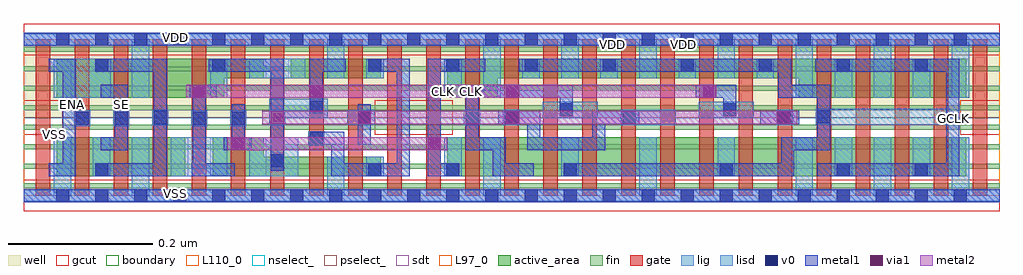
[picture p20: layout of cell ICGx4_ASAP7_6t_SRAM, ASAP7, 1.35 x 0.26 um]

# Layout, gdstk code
import gdstk
lib = gdstk.Library(unit=1e-6, precision=2.5e-10)
def R(c, l, rs):  # rectangles x0, y0, x1, y1
    for r in rs: c.add(gdstk.rectangle(r[:2], r[2:], *l))
def A(c, l, x, y, w, h, nx, ny, dx, dy):  # array of equal rectangles
    R(c, l, [(x+i*dx, y+j*dy, x+i*dx+w, y+j*dy+h) for i in range(nx) for j in range(ny)])
def P(c, l, *ps):  # polygons
    for p in ps: c.add(gdstk.Polygon(p, *l))
well = (1, 0)
fin = (2, 0)
gate = (7, 0)
gcut = (10, 0)
active_area = (11, 0)
nselect_ = (12, 0)
pselect_ = (13, 0)
lig = (16, 0)
lisd = (17, 0)
v0 = (18, 0)
metal1 = (19, 0)
metal2 = (20, 0)
via1 = (21, 0)
sdt = (88, 0)
L97_0 = (97, 0)
boundary = (100, 0)
L110_0 = (110, 0)

icgx4_asap7_6t_sram = lib.new_cell('ICGx4_ASAP7_6t_SRAM')
R(icgx4_asap7_6t_sram, well, [(0,0.108,1.35,0.216)])
A(icgx4_asap7_6t_sram, fin, 0, 0.01, 1.35, 0.007, 1, 8, 0, 0.027)
A(icgx4_asap7_6t_sram, gate, 0.017, 0, 0.02, 0.216, 25, 1, 0.054, 0)
R(icgx4_asap7_6t_sram, gcut, [(0,-0.022,1.35,0.022), (0,0.084,0.054,0.132), (0.486,0.084,0.594,0.132), (1.296,0.084,1.35,0.132), (0,0.194,1.35,0.238)])
R(icgx4_asap7_6t_sram, active_area, [(0.046,0.027,0.224,0.081), (0.586,0.027,1.304,0.081), (0.37,0.162,0.494,0.189)])
P(icgx4_asap7_6t_sram, active_area, [(0.332,0.189),(0.046,0.189),(0.046,0.135),(0.278,0.135),(0.278,0.162),(0.332,0.162)],
  [(0.494,0.054),(0.332,0.054),(0.332,0.081),(0.262,0.081),(0.262,0.027),(0.494,0.027)],
  [(1.304,0.189),(0.586,0.189),(0.586,0.135),(0.656,0.135),(0.656,0.162),(1.072,0.162),(1.072,0.135),(1.304,0.135)])
R(icgx4_asap7_6t_sram, nselect_, [(0,0,1.35,0.108)])
R(icgx4_asap7_6t_sram, pselect_, [(0,0.108,1.35,0.216)])
R(icgx4_asap7_6t_sram, lig, [(0,-0.008,1.35,0.008), (0.394,0.069,0.416,0.089), (0.07,0.096,0.092,0.118), (0.124,0.096,0.146,0.118), (0.232,0.096,0.254,0.118), (0.286,0.096,0.308,0.118), (0.178,0.097,0.2,0.119), (0.34,0.097,0.362,0.119), (0.609,0.097,0.632,0.119), (0.663,0.097,0.686,0.119), (0.826,0.097,0.902,0.119), (1.042,0.097,1.065,0.119), (0.448,0.098,0.486,0.118), (1.096,0.098,1.281,0.12), (0.718,0.108,0.794,0.13), (0.934,0.108,1.01,0.13), (0,0.208,1.35,0.224)])
A(icgx4_asap7_6t_sram, lisd, 0.636, 0, 0.024, 0.081, 3, 1, 0.216, 0)
A(icgx4_asap7_6t_sram, lisd, 1.068, 0.135, 0.024, 0.081, 3, 1, 0.108, 0)
A(icgx4_asap7_6t_sram, lisd, 0.69, 0.162, 0.024, 0.027, 4, 1, 0.108, 0)
A(icgx4_asap7_6t_sram, lisd, 0.744, 0.162, 0.024, 0.054, 3, 1, 0.108, 0)
R(icgx4_asap7_6t_sram, lisd, [(0.042,0,0.066,0.081), (0.15,0,0.174,0.081), (0.42,0,0.444,0.054), (1.176,0,1.2,0.081), (1.284,0,1.308,0.081), (0.096,0.027,0.12,0.081), (0.204,0.027,0.282,0.081), (0.312,0.027,0.38,0.081), (0.474,0.027,0.498,0.054), (0.582,0.027,0.606,0.081), (0.744,0.027,0.768,0.081), (0.96,0.027,0.984,0.081), (1.122,0.027,1.146,0.081), (1.23,0.027,1.254,0.081), (0.34,0.108,0.421,0.134), (0.042,0.135,0.121,0.189), (0.15,0.135,0.174,0.216), (0.258,0.135,0.282,0.189), (0.582,0.135,0.606,0.189), (0.636,0.135,0.66,0.216), (1.122,0.135,1.146,0.189), (1.23,0.135,1.254,0.189), (0.312,0.162,0.39,0.189), (0.42,0.162,0.444,0.216), (0.474,0.162,0.498,0.189)])
A(icgx4_asap7_6t_sram, v0, 0.045, -0.009, 0.018, 0.018, 24, 2, 0.054, 0.216)
A(icgx4_asap7_6t_sram, v0, 0.477, 0.171, 0.018, 0.018, 8, 1, 0.108, 0)
R(icgx4_asap7_6t_sram, v0, [(0.099,0.027,0.117,0.045), (0.477,0.027,0.495,0.045), (0.585,0.027,0.603,0.045), (0.747,0.027,0.765,0.045), (0.963,0.027,0.981,0.045), (1.125,0.027,1.143,0.045), (1.233,0.027,1.251,0.045), (0.342,0.039,0.36,0.057), (0.396,0.07,0.414,0.088), (0.612,0.097,0.63,0.115), (0.072,0.098,0.09,0.116), (0.126,0.098,0.144,0.116), (0.234,0.098,0.252,0.116), (0.288,0.098,0.306,0.116), (0.18,0.099,0.198,0.117), (0.462,0.099,0.48,0.117), (0.666,0.099,0.684,0.117), (0.829,0.099,0.847,0.117), (1.044,0.099,1.062,0.117), (1.098,0.1,1.116,0.118), (0.742,0.11,0.76,0.128), (0.968,0.11,0.986,0.128), (0.396,0.113,0.414,0.131), (0.099,0.171,0.117,0.189), (0.261,0.171,0.279,0.189)])
R(icgx4_asap7_6t_sram, metal1, [(0,-0.009,1.35,0.009), (0.233,0.027,0.292,0.045), (0.462,0.07,0.48,0.126), (1.019,0.099,1.073,0.117), (0.396,0.113,0.414,0.189), (0.396,0.171,0.446,0.189), (0,0.207,1.35,0.225)])
P(icgx4_asap7_6t_sram, metal1, [(0.09,0.116),(0.072,0.116),(0.072,0.189),(0.035,0.189),(0.035,0.171),(0.054,0.171),(0.054,0.045),(0.035,0.045),(0.035,0.027),(0.072,0.027),(0.072,0.098),(0.09,0.098)],
  [(0.144,0.153),(0.107,0.153),(0.107,0.135),(0.126,0.135),(0.126,0.081),(0.107,0.081),(0.107,0.063),(0.144,0.063)],
  [(0.198,0.189),(0.099,0.189),(0.099,0.171),(0.18,0.171),(0.18,0.045),(0.099,0.045),(0.099,0.027),(0.198,0.027)],
  [(0.267,0.153),(0.23,0.153),(0.23,0.135),(0.234,0.135),(0.234,0.028),(0.252,0.028),(0.252,0.135),(0.267,0.135)],
  [(0.316,0.081),(0.306,0.081),(0.306,0.126),(0.288,0.126),(0.288,0.081),(0.277,0.081),(0.277,0.063),(0.316,0.063)],
  [(0.36,0.189),(0.256,0.189),(0.256,0.171),(0.342,0.171),(0.342,0.034),(0.36,0.034)],
  [(0.534,0.189),(0.477,0.189),(0.477,0.171),(0.516,0.171),(0.516,0.045),(0.444,0.045),(0.444,0.088),(0.396,0.088),(0.396,0.07),(0.426,0.07),(0.426,0.027),(0.534,0.027)],
  [(0.639,0.189),(0.559,0.189),(0.559,0.027),(0.603,0.027),(0.603,0.045),(0.577,0.045),(0.577,0.171),(0.639,0.171)],
  [(0.76,0.153),(0.612,0.153),(0.612,0.063),(0.649,0.063),(0.649,0.027),(0.706,0.027),(0.706,0.045),(0.667,0.045),(0.667,0.081),(0.63,0.081),(0.63,0.135),(0.742,0.135),(0.742,0.11),(0.76,0.11)],
  [(0.852,0.117),(0.787,0.117),(0.787,0.081),(0.715,0.081),(0.715,0.117),(0.657,0.117),(0.657,0.099),(0.697,0.099),(0.697,0.063),(0.805,0.063),(0.805,0.099),(0.852,0.099)],
  [(0.986,0.153),(0.93,0.153),(0.93,0.135),(0.968,0.135),(0.968,0.11),(0.986,0.11)],
  [(1.116,0.153),(1.062,0.153),(1.062,0.189),(0.685,0.189),(0.685,0.171),(1.044,0.171),(1.044,0.135),(1.098,0.135),(1.098,0.081),(1.048,0.081),(1.048,0.045),(0.747,0.045),(0.747,0.027),(1.066,0.027),(1.066,0.063),(1.116,0.063)],
  [(1.294,0.189),(1.095,0.189),(1.095,0.171),(1.276,0.171),(1.276,0.045),(1.098,0.045),(1.098,0.027),(1.294,0.027)])
R(icgx4_asap7_6t_sram, metal2, [(0.282,0.063,0.586,0.081), (0.33,0.099,1.07,0.117), (0.225,0.135,0.958,0.153)])
A(icgx4_asap7_6t_sram, via1, 0.396, 0.135, 0.018, 0.018, 3, 1, 0.272, 0)
R(icgx4_asap7_6t_sram, via1, [(0.288,0.063,0.306,0.081), (0.559,0.063,0.577,0.081), (0.342,0.099,0.36,0.117), (0.462,0.099,0.48,0.117), (0.668,0.099,0.686,0.117), (1.042,0.099,1.06,0.117), (0.234,0.135,0.252,0.153)])
A(icgx4_asap7_6t_sram, sdt, 0.042, 0.027, 0.024, 0.054, 6, 1, 0.054, 0)
A(icgx4_asap7_6t_sram, sdt, 0.636, 0.027, 0.024, 0.054, 5, 1, 0.108, 0)
A(icgx4_asap7_6t_sram, sdt, 1.122, 0.027, 0.024, 0.054, 4, 1, 0.054, 0)
A(icgx4_asap7_6t_sram, sdt, 0.042, 0.135, 0.024, 0.054, 3, 1, 0.108, 0)
A(icgx4_asap7_6t_sram, sdt, 1.068, 0.135, 0.024, 0.054, 5, 1, 0.054, 0)
A(icgx4_asap7_6t_sram, sdt, 0.312, 0.162, 0.024, 0.027, 4, 1, 0.054, 0)
A(icgx4_asap7_6t_sram, sdt, 0.69, 0.162, 0.024, 0.027, 7, 1, 0.054, 0)
R(icgx4_asap7_6t_sram, sdt, [(0.42,0.027,0.444,0.054), (0.474,0.027,0.498,0.054), (0.582,0.027,0.606,0.081), (0.582,0.135,0.606,0.189), (0.636,0.135,0.66,0.189)])
R(icgx4_asap7_6t_sram, L97_0, [(0,0,1.35,0.216)])
R(icgx4_asap7_6t_sram, boundary, [(0,0,1.35,0.216)])
R(icgx4_asap7_6t_sram, L110_0, [(0,0,1.35,0.216)])
icgx4_asap7_6t_sram.add(gdstk.Label('VSS', (0.043,0.085), layer=3, texttype=251))
icgx4_asap7_6t_sram.add(gdstk.Label('GCLK', (1.286,0.106), layer=19, texttype=251))
icgx4_asap7_6t_sram.add(gdstk.Label('CLK', (0.62,0.144), layer=19, texttype=251))
icgx4_asap7_6t_sram.add(gdstk.Label('VSS', (0.21,0.003), layer=19, texttype=251))
icgx4_asap7_6t_sram.add(gdstk.Label('VDD', (0.21,0.218), layer=19, texttype=251))
icgx4_asap7_6t_sram.add(gdstk.Label('SE', (0.135,0.126), layer=19, texttype=251))
icgx4_asap7_6t_sram.add(gdstk.Label('ENA', (0.068,0.126), layer=19, texttype=251))
icgx4_asap7_6t_sram.add(gdstk.Label('VDD', (0.913,0.209), layer=1, texttype=251))
icgx4_asap7_6t_sram.add(gdstk.Label('VDD', (0.815,0.209), layer=1, texttype=251))
icgx4_asap7_6t_sram.add(gdstk.Label('CLK', (0.581,0.144), layer=20, texttype=251))

lib.write_gds('ICGx4_ASAP7_6t_SRAM.gds')
